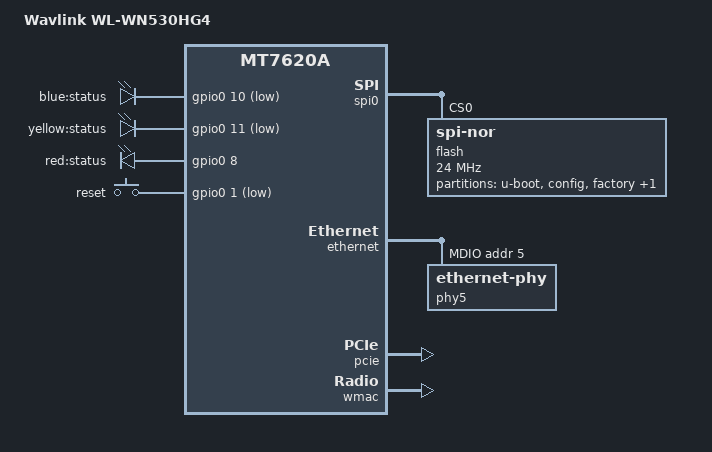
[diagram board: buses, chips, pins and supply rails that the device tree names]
// SPDX-License-Identifier: GPL-2.0-or-later

#include "mt7620a.dtsi"

#include <dt-bindings/gpio/gpio.h>
#include <dt-bindings/input/input.h>

/ {
	compatible = "wavlink,wl-wn530hg4", "ralink,mt7620a-soc";
	model = "Wavlink WL-WN530HG4";

	aliases {
		led-boot = &led_status_blue;
		led-failsafe = &led_status_blue;
		led-running = &led_status_blue;
		led-upgrade = &led_status_blue;
		serial0 = &uartlite;
	};

	leds {
		compatible = "gpio-leds";

		led_status_blue: status_blue {
			label = "blue:status";
			gpios = <&gpio0 10 GPIO_ACTIVE_LOW>;
		};

		status_yellow {
			label = "yellow:status";
			gpios = <&gpio0 11 GPIO_ACTIVE_LOW>;
		};

		status_red {
			label = "red:status";
			gpios = <&gpio0 8 GPIO_ACTIVE_HIGH>;
		};
	};

	keys {
		compatible = "gpio-keys";

		reset {
			label = "reset";
			gpios = <&gpio0 1 GPIO_ACTIVE_LOW>;
			linux,code = <KEY_RESTART>;
		};
	};
};

&spi0 {
	status = "okay";

	flash@0 {
		compatible = "jedec,spi-nor";
		reg = <0>;
		spi-max-frequency = <24000000>;

		partitions {
			compatible = "fixed-partitions";
			#address-cells = <1>;
			#size-cells = <1>;

			partition@0 {
				label = "u-boot";
				reg = <0x0 0x30000>;
				read-only;
			};

			partition@30000 {
				label = "config";
				reg = <0x30000 0x10000>;
				read-only;
			};

			factory: partition@40000 {
				label = "factory";
				reg = <0x40000 0x10000>;
				read-only;
			};

			partition@50000 {
				compatible = "denx,uimage";
				label = "firmware";
				reg = <0x50000 0x7b0000>;
			};
		};
	};
};

&state_default {
	gpio {
		groups = "i2c", "uartf";
		function = "gpio";
	};
};

&ethernet {
	pinctrl-names = "default";
	pinctrl-0 = <&rgmii2_pins &mdio_pins>;

	mtd-mac-address = <&factory 0x28>;

	mediatek,portmap = "llllw";

	port@5 {
		status = "okay";
		phy-handle = <&phy5>;
		phy-mode = "rgmii";
	};

	mdio-bus {
		status = "okay";

		phy5: ethernet-phy@5 {
			reg = <5>;
			phy-mode = "rgmii";
		};
	};
};

&pcie {
	status = "okay";
};

&pcie0 {
	mt76@0,0 {
		reg = <0x0000 0 0 0 0>;
		mediatek,mtd-eeprom = <&factory 0x8000>;
		ieee80211-freq-limit = <5000000 6000000>;
	};
};

&wmac {
	pinctrl-names = "default";
	pinctrl-0 = <&pa_pins>;

	ralink,mtd-eeprom = <&factory 0x0>;
};
